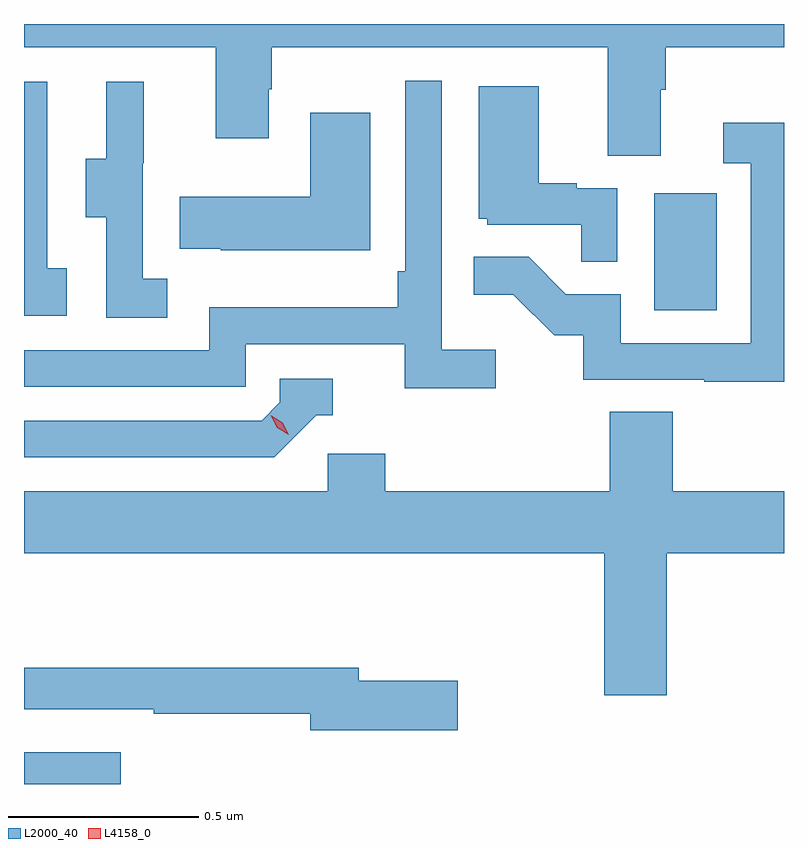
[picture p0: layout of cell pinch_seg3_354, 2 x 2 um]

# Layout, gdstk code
import gdstk
lib = gdstk.Library(unit=1e-6, precision=1e-09)
def R(c, l, rs):  # rectangles x0, y0, x1, y1
    for r in rs: c.add(gdstk.rectangle(r[:2], r[2:], *l))
def P(c, l, *ps):  # polygons
    for p in ps: c.add(gdstk.Polygon(p, *l))
L2000_40 = (2000, 40)
L4158_0 = (4158, 0)

pinch_seg3_354 = lib.new_cell('pinch_seg3_354')
R(pinch_seg3_354, L2000_40, [(990.653,694.981,990.907,695.065), (992.312,696.228,992.476,696.535)])
P(pinch_seg3_354, L2000_40, [(992.329,696.808),(992.342,696.808),(992.342,696.92),(992.653,696.92),(992.653,696.981),(990.653,696.981),(990.653,696.92),(991.157,696.92),(991.157,696.681),(991.297,696.681),(991.297,696.809),(991.305,696.809),(991.305,696.92),(992.189,696.92),(992.189,696.634),(992.329,696.634)],
  [(991.894,696.124),(991.752,696.124),(991.752,696.832),(991.656,696.832),(991.656,696.331),(991.636,696.331),(991.636,696.235),(991.14,696.235),(991.14,696.123),(990.653,696.123),(990.653,696.027),(991.236,696.027),(991.236,696.138),(991.655,696.138),(991.655,696.022),(991.894,696.022)],
  [(990.766,696.338),(990.714,696.338),(990.714,696.829),(990.653,696.829),(990.653,696.213),(990.766,696.213)],
  [(991.03,696.311),(990.966,696.311),(990.966,696.615),(990.968,696.615),(990.968,696.829),(990.869,696.829),(990.869,696.627),(990.815,696.627),(990.815,696.472),(990.87,696.472),(990.87,696.208),(991.03,696.208)],
  [(992.214,696.549),(992.108,696.549),(992.108,696.562),(992.008,696.562),(992.008,696.817),(991.85,696.817),(991.85,696.468),(991.872,696.468),(991.872,696.453),(992.119,696.453),(992.119,696.355),(992.214,696.355)],
  [(991.564,696.748),(991.406,696.748),(991.406,696.526),(991.063,696.526),(991.063,696.389),(991.171,696.389),(991.171,696.386),(991.564,696.386)],
  [(992.653,696.721),(992.493,696.721),(992.493,696.615),(992.565,696.615),(992.565,696.141),(992.223,696.141),(992.223,696.27),(992.079,696.27),(991.981,696.368),(991.837,696.368),(991.837,696.269),(991.941,696.269),(992.048,696.162),(992.125,696.162),(992.125,696.045),(992.443,696.045),(992.443,696.04),(992.653,696.04)],
  [(991.422,695.952),(991.465,695.952),(991.465,696.048),(991.326,696.048),(991.326,695.985),(991.278,695.937),(990.653,695.937),(990.653,695.841),(991.311,695.841)],
  [(992.344,695.588),(992.653,695.588),(992.653,695.752),(992.36,695.752),(992.36,695.96),(992.195,695.96),(992.195,695.752),(991.604,695.752),(991.604,695.85),(991.452,695.85),(991.452,695.752),(990.653,695.752),(990.653,695.588),(992.18,695.588),(992.18,695.214),(992.344,695.214)],
  [(991.795,695.253),(991.534,695.253),(991.534,695.287),(990.653,695.287),(990.653,695.178),(990.994,695.178),(990.994,695.166),(991.406,695.166),(991.406,695.123),(991.795,695.123)])
P(pinch_seg3_354, L4158_0, [(991.35,695.9),(991.319,695.919),(991.302,695.951),(991.302,695.952),(991.302,695.952),(991.334,695.932),(991.35,695.9),(991.35,695.9)])

lib.write_gds('pinch_seg3_354.gds')
